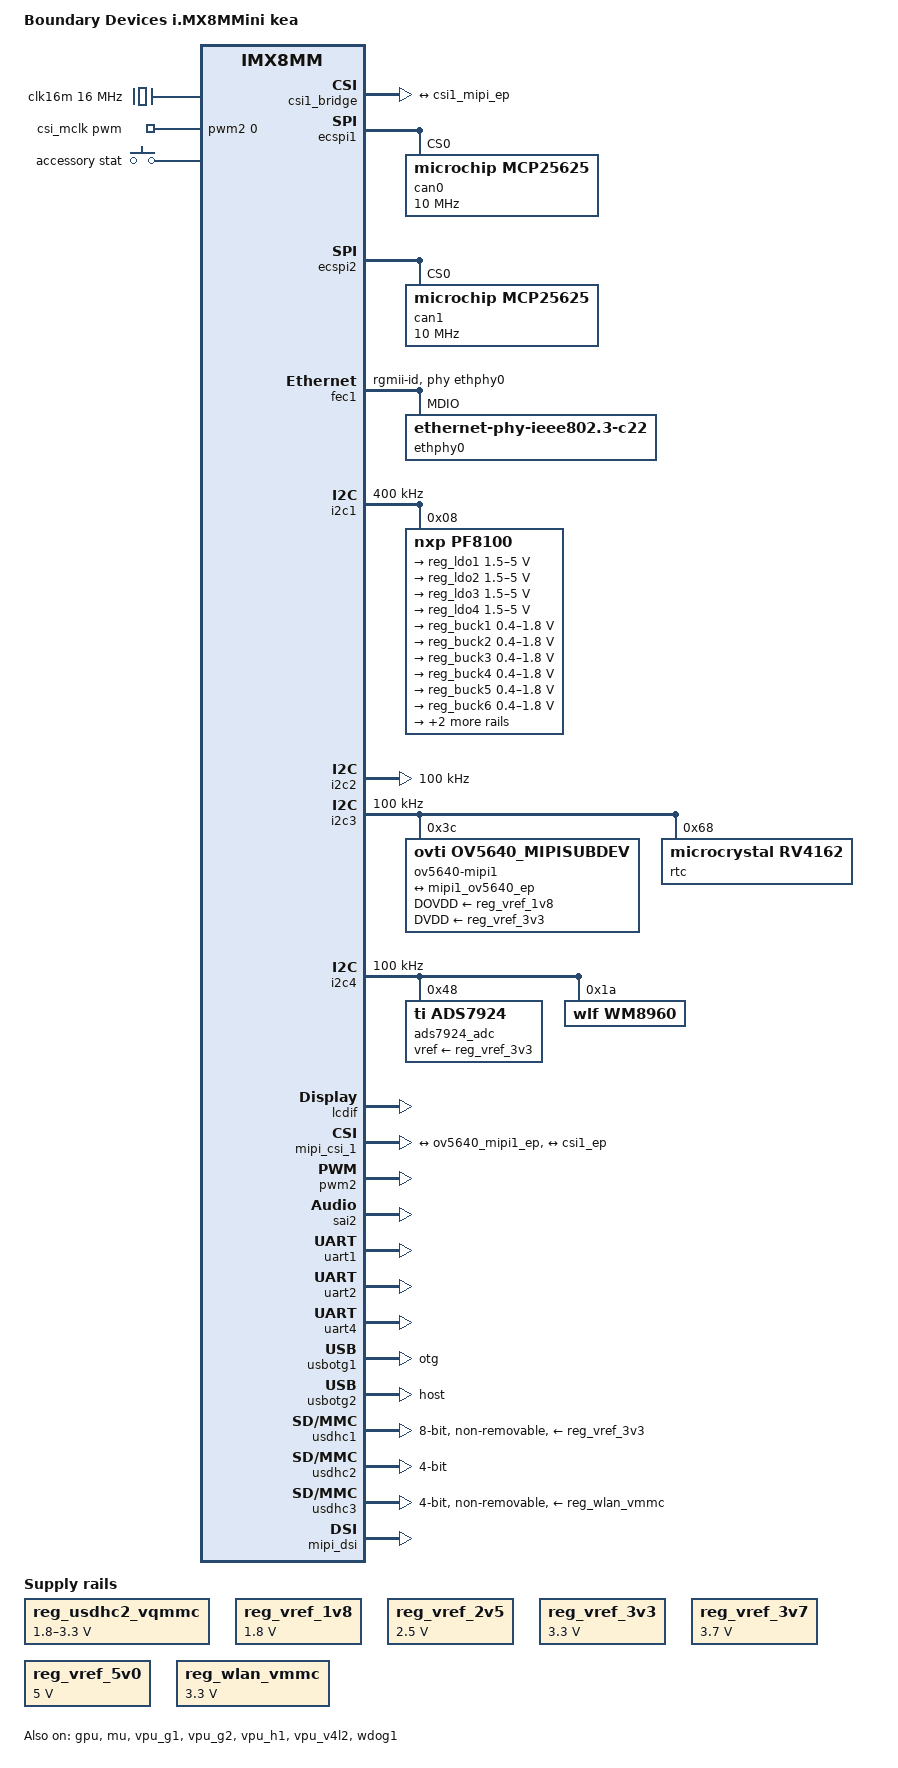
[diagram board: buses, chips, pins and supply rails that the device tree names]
// SPDX-License-Identifier: (GPL-2.0+ OR MIT)
/*
 * Copyright 2021 Boundary Devices
 */

/dts-v1/;
#define MX8MMN(a, b)	MX8MM_##a b
#define IMX8MMN(a)	IMX8MM_##a
#include "imx8mm.dtsi"

&iomuxc {
	pinctrl-names = "default";
	pinctrl-0 = <&pinctrl_hog>;

	pinctrl_bt_rfkill: bt-rfkillgrp {
		fsl,pins = <
#define GP_BT_RFKILL_RESET	<&gpio1 5 GPIO_ACTIVE_LOW>
			MX8MMN(IOMUXC_GPIO1_IO05_GPIO1_IO5, 0x119)
		>;
	};

	pinctrl_ecspi1: ecspi1grp {
		fsl,pins = <
			MX8MMN(IOMUXC_ECSPI1_SCLK_ECSPI1_SCLK, 0x19)
			MX8MMN(IOMUXC_ECSPI1_MISO_ECSPI1_MISO, 0x19)
			MX8MMN(IOMUXC_ECSPI1_MOSI_ECSPI1_MOSI, 0x19)
#define GP_ECSPI1_CS0		<&gpio5 9 GPIO_ACTIVE_LOW>
			MX8MMN(IOMUXC_ECSPI1_SS0_GPIO5_IO9, 0x140)
		>;
	};

	pinctrl_ecspi1_mcp25625: ecspi1-mcp25625grp {
		fsl,pins = <
			MX8MMN(IOMUXC_SAI1_TXD5_GPIO4_IO17, 0x1c0)	/* can1_rx0b */
			MX8MMN(IOMUXC_SAI1_TXD4_GPIO4_IO16, 0x1c0)	/* can1_rx1b */
			MX8MMN(IOMUXC_SAI1_TXD3_GPIO4_IO15, 0x1c0)	/* can1_tx0rts */
			MX8MMN(IOMUXC_SAI1_TXD2_GPIO4_IO14, 0x1c0)	/* can1_tx1rts */
			MX8MMN(IOMUXC_SAI1_TXD1_GPIO4_IO13, 0x1c0)	/* can1_tx2rts */
#define GPIRQ_MCP25625_1	<&gpio1 4 IRQ_TYPE_LEVEL_LOW>
			MX8MMN(IOMUXC_GPIO1_IO04_GPIO1_IO4, 0x1c0)
#define GP_MCP25625_1_RESET	<&gpio4 18 GPIO_ACTIVE_LOW>
			MX8MMN(IOMUXC_SAI1_TXD6_GPIO4_IO18, 0x100)	/* can1_reset */
		>;
	};

	pinctrl_ecspi2: ecspi2grp {
		fsl,pins = <
			/* J15 */
			MX8MMN(IOMUXC_ECSPI2_SCLK_ECSPI2_SCLK, 0x19)	/* Pin 43 */
			MX8MMN(IOMUXC_ECSPI2_MISO_ECSPI2_MISO, 0x19)	/* Pin 41 */
			MX8MMN(IOMUXC_ECSPI2_MOSI_ECSPI2_MOSI, 0x19)	/* Pin 45 */
#define GP_ECSPI2_CS0	<&gpio5 13 GPIO_ACTIVE_LOW>
			MX8MMN(IOMUXC_ECSPI2_SS0_GPIO5_IO13, 0x140)	/* Pin 39 */
		>;
	};

	pinctrl_ecspi2_mcp25625: ecspi2-mcp25625grp {
		fsl,pins = <
			MX8MMN(IOMUXC_SAI5_RXD0_GPIO3_IO21, 0x1c0)	/* can2_rx0b */
			MX8MMN(IOMUXC_SAI5_RXD1_GPIO3_IO22, 0x1c0)	/* can2_rx1b */
			MX8MMN(IOMUXC_SAI5_RXD2_GPIO3_IO23, 0x1c0)	/* can2_tx0rts */
			MX8MMN(IOMUXC_SAI5_RXD3_GPIO3_IO24, 0x1c0)	/* can2_tx1rts */
			MX8MMN(IOMUXC_SAI3_MCLK_GPIO5_IO2, 0x16)	/* can2_tx2rts */
#define GPIRQ_MCP25625_2	<&gpio1 8 IRQ_TYPE_LEVEL_LOW>
			MX8MMN(IOMUXC_GPIO1_IO08_GPIO1_IO8, 0x19)
#define GP_MCP25625_2_RESET	<&gpio1 3 GPIO_ACTIVE_LOW>
			MX8MMN(IOMUXC_GPIO1_IO03_GPIO1_IO3, 0x100)
		>;
	};

	pinctrl_fec1: fec1grp {
		fsl,pins = <
			/* PAD_CTL_ODE is screwy on 8mm mini, avoid it */
#define GP_MII_MDC	<&gpio1 16 GPIO_PULSE_HIGH>
			MX8MMN(IOMUXC_ENET_MDC_GPIO1_IO16, 0x00)
#define GP_MII_MDIO	<&gpio1 17 GPIO_ACTIVE_HIGH>
			MX8MMN(IOMUXC_ENET_MDIO_GPIO1_IO17, 0x00)
			MX8MMN(IOMUXC_ENET_RD0_ENET1_RGMII_RD0, 0x80)
			MX8MMN(IOMUXC_ENET_RD1_ENET1_RGMII_RD1, 0x80)
			MX8MMN(IOMUXC_ENET_RD2_ENET1_RGMII_RD2, 0x80)
			MX8MMN(IOMUXC_ENET_RD3_ENET1_RGMII_RD3, 0x80)
			MX8MMN(IOMUXC_ENET_RXC_ENET1_RGMII_RXC, 0x80)
			MX8MMN(IOMUXC_ENET_RX_CTL_ENET1_RGMII_RX_CTL, 0x80)
			/* 10/100 only, never gigabit speeds */
			MX8MMN(IOMUXC_ENET_TD0_ENET1_RGMII_TD0, 0x00)
			MX8MMN(IOMUXC_ENET_TD1_ENET1_RGMII_TD1, 0x00)
			MX8MMN(IOMUXC_ENET_TD2_ENET1_RGMII_TD2, 0x00)
			MX8MMN(IOMUXC_ENET_TD3_ENET1_RGMII_TD3, 0x00)
			MX8MMN(IOMUXC_ENET_TXC_ENET1_RGMII_TXC, 0x00)
			MX8MMN(IOMUXC_ENET_TX_CTL_ENET1_RGMII_TX_CTL, 0x00)
#define GP_FEC1_RESET	<&gpio3 15 GPIO_ACTIVE_LOW>
			MX8MMN(IOMUXC_NAND_RE_B_GPIO3_IO15, 0x159)
#define GPIRQ_FEC1_PHY	<&gpio3 16 IRQ_TYPE_LEVEL_LOW>
			MX8MMN(IOMUXC_NAND_READY_B_GPIO3_IO16, 0x159)
		>;
	};

	pinctrl_gpio_keys: gpio-keysgrp {
		fsl,pins = <
#define GP_ACCESSORY_STAT	<&gpio4 4 GPIO_ACTIVE_LOW>
			MX8MMN(IOMUXC_SAI1_RXD2_GPIO4_IO4, 0x1c0)	/* ACCESSORY_STAT */
		>;
	};

	pinctrl_hog: hoggrp {
		fsl,pins = <
			MX8MMN(IOMUXC_SAI3_TXFS_GPIO4_IO31, 0x100)	/* GPO1 */
			MX8MMN(IOMUXC_SAI3_TXC_GPIO5_IO0, 0x100)	/* GPO2 */			
			MX8MMN(IOMUXC_SAI3_TXD_GPIO5_IO1, 0x100)	/* GPO3 */
			MX8MMN(IOMUXC_SAI3_RXC_GPIO4_IO29, 0x1c0)	/* GPO1_STAT */
			MX8MMN(IOMUXC_SAI3_RXD_GPIO4_IO30, 0x1c0)	/* GPO2_STAT */
			MX8MMN(IOMUXC_SAI1_RXD7_GPIO4_IO9, 0x1c0)	/* GPO3_STAT */

			MX8MMN(IOMUXC_SAI5_MCLK_GPIO3_IO25, 0x100)	/* LIN_EN */
			MX8MMN(IOMUXC_SAI5_RXFS_GPIO3_IO19, 0x100)	/* LIN_RESET */

			MX8MMN(IOMUXC_SAI1_RXD3_GPIO4_IO5, 0x140)	/* 12V_EN */

			MX8MMN(IOMUXC_SAI1_RXD6_GPIO4_IO8, 0x140)	/* RELAY1_EN */
			MX8MMN(IOMUXC_SAI1_RXD5_GPIO4_IO7, 0x140)	/* RELAY2_EN */
			MX8MMN(IOMUXC_SAI1_RXD4_GPIO4_IO6, 0x140)	/* RELAY3_EN */

			MX8MMN(IOMUXC_SD2_WP_GPIO2_IO20, 0x100)		/* TP2  */
			MX8MMN(IOMUXC_GPIO1_IO15_GPIO1_IO15, 0x140)	/* TP5 */
			MX8MMN(IOMUXC_SD2_RESET_B_GPIO2_IO19, 0x140)	/* TP7  */
			MX8MMN(IOMUXC_GPIO1_IO14_GPIO1_IO14, 0x140)	/* TP12 */
			MX8MMN(IOMUXC_NAND_DATA00_GPIO3_IO6, 0x140)	/* TP61  */
			MX8MMN(IOMUXC_NAND_DATA03_GPIO3_IO9, 0x140)	/* TP62 */
		>;
	};

	pinctrl_i2c1: i2c1grp {
		fsl,pins = <
			MX8MMN(IOMUXC_I2C1_SCL_I2C1_SCL, 0x400001c3)
			MX8MMN(IOMUXC_I2C1_SDA_I2C1_SDA, 0x400001c3)
		>;
	};

	pinctrl_i2c1_1: i2c1_1grp {
		fsl,pins = <
#define GP_I2C1_SCL	<&gpio5 14 GPIO_OPEN_DRAIN>
			MX8MMN(IOMUXC_I2C1_SCL_GPIO5_IO14, 0x400001c3)
#define GP_I2C1_SDA	<&gpio5 15 GPIO_OPEN_DRAIN>
			MX8MMN(IOMUXC_I2C1_SDA_GPIO5_IO15, 0x400001c3)
		>;
	};

	pinctrl_i2c1_pf8100: i2c1-pf8100grp {
		fsl,pins = <
#define GP_I2C1_PF8100_EWARN	<&gpio3 3 GPIO_ACTIVE_LOW>
			MX8MMN(IOMUXC_NAND_CE2_B_GPIO3_IO3, 0x149)
#define GP_I2C1_PF8100_FAULT	<&gpio3 4 GPIO_ACTIVE_LOW>
			MX8MMN(IOMUXC_NAND_CE3_B_GPIO3_IO4, 0x149)
		>;
	};

	pinctrl_i2c2: i2c2grp {
		fsl,pins = <
			MX8MMN(IOMUXC_I2C2_SCL_I2C2_SCL, 0x400001c3)
			MX8MMN(IOMUXC_I2C2_SDA_I2C2_SDA, 0x400001c3)
		>;
	};

	pinctrl_i2c2_1: i2c2_1grp {
		fsl,pins = <
#define GP_I2C2_SCL	<&gpio5 16 GPIO_OPEN_DRAIN>
			MX8MMN(IOMUXC_I2C2_SCL_GPIO5_IO16, 0x400001c3)
#define GP_I2C2_SDA	<&gpio5 17 GPIO_OPEN_DRAIN>
			MX8MMN(IOMUXC_I2C2_SDA_GPIO5_IO17, 0x400001c3)
		>;
	};

	pinctrl_i2c3: i2c3grp {
		fsl,pins = <
			MX8MMN(IOMUXC_I2C3_SCL_I2C3_SCL, 0x400001c3)
			MX8MMN(IOMUXC_I2C3_SDA_I2C3_SDA, 0x400001c3)
		>;
	};

	pinctrl_i2c3_1: i2c3_1grp {
		fsl,pins = <
#define GP_I2C3_SCL	<&gpio5 18 GPIO_OPEN_DRAIN>
			MX8MMN(IOMUXC_I2C3_SCL_GPIO5_IO18, 0x400001c3)
#define GP_I2C3_SDA	<&gpio5 19 GPIO_OPEN_DRAIN>
			MX8MMN(IOMUXC_I2C3_SDA_GPIO5_IO19, 0x400001c3)
		>;
	};

	pinctrl_i2c3_ov5640_mipi: i2c3-ov5640-mipigrp {
		fsl,pins = <
#define GP_OV5640_MIPI_POWER_DOWN	<&gpio4 28 GPIO_ACTIVE_HIGH>
			MX8MMN(IOMUXC_SAI3_RXFS_GPIO4_IO28, 0x141)
#define GP_OV5640_MIPI_RESET		<&gpio1 11 GPIO_ACTIVE_LOW>
			MX8MMN(IOMUXC_GPIO1_IO11_GPIO1_IO11, 0x101)
		>;
	};

	pinctrl_i2c3_rv4162: i2c3-rv4162grp {
		fsl,pins = <
#define GPIRQ_RV4162		<&gpio1 10 IRQ_TYPE_LEVEL_LOW>
			MX8MMN(IOMUXC_GPIO1_IO10_GPIO1_IO10, 0x1c0)
                >;
        };

	pinctrl_i2c4: i2c4grp {
		fsl,pins = <
			MX8MMN(IOMUXC_I2C4_SCL_I2C4_SCL, 0x400001c3)
			MX8MMN(IOMUXC_I2C4_SDA_I2C4_SDA, 0x400001c3)
		>;
	};

	pinctrl_i2c4_1: i2c4_1grp {
		fsl,pins = <
#define GP_I2C4_SCL	<&gpio5 20 GPIO_OPEN_DRAIN>
			MX8MMN(IOMUXC_I2C4_SCL_GPIO5_IO20, 0x400001c3)
#define GP_I2C4_SDA	<&gpio5 21 GPIO_OPEN_DRAIN>
			MX8MMN(IOMUXC_I2C4_SDA_GPIO5_IO21, 0x400001c3)
		>;
	};

	pinctrl_i2c4_ads7924: i2c4_ads7924grp {
		fsl,pins = <
#define GPIRQ_ADC_INTR		<&gpio4 22 IRQ_TYPE_LEVEL_LOW>
			MX8MMN(IOMUXC_SAI2_RXC_GPIO4_IO22, 0x1c0)
#define GP_ADC_RESET		<&gpio4 3 GPIO_ACTIVE_LOW>
			MX8MMN(IOMUXC_SAI1_RXD1_GPIO4_IO3, 0x100)
		>;
	};

	pinctrl_pwm2: pwm2grp {
		fsl,pins = <
			MX8MMN(IOMUXC_SPDIF_RX_PWM2_OUT, 0x16)
		>;
	};

	/* For EC21-ALCC modem */
	pinctrl_reg_3p7v: reg-3p7vgrp {
		fsl,pins = <
#define GP_REG_3P7V	<&gpio4 20 GPIO_ACTIVE_HIGH>
			MX8MMN(IOMUXC_SAI1_MCLK_GPIO4_IO20, 0x100)
		>;
	};

	pinctrl_reg_usdhc2_vqmmc: reg_usdhc2_vqmmcgrp {
		fsl,pins = <
#define GP_USDHC2_VSEL	<&gpio3 2 GPIO_ACTIVE_HIGH>
			MX8MMN(IOMUXC_NAND_CE1_B_GPIO3_IO2, 0x16)
		>;
	};

	pinctrl_reg_wlan_vmmc: reg-wlan-vmmcgrp {
		fsl,pins = <
#define GP_REG_WLAN_VMMC	<&gpio4 21 GPIO_ACTIVE_HIGH>
			MX8MMN(IOMUXC_SAI2_RXFS_GPIO4_IO21, 0x100)
		>;
	};

	pinctrl_sai2: sai2grp {
		fsl,pins = <
			/* Bluetooth PCM */
			MX8MMN(IOMUXC_SAI2_TXFS_SAI2_TX_SYNC, 0xd6)
			MX8MMN(IOMUXC_SAI2_TXC_SAI2_TX_BCLK, 0xd6)
			MX8MMN(IOMUXC_SAI2_TXD0_SAI2_TX_DATA0, 0xd6)
			MX8MMN(IOMUXC_SAI2_RXD0_SAI2_RX_DATA0, 0xd6)
		>;
	};

	pinctrl_uart1: uart1grp {
		fsl,pins = <
			MX8MMN(IOMUXC_UART1_RXD_UART1_DCE_RX, 0x140)
			MX8MMN(IOMUXC_UART1_TXD_UART1_DCE_TX, 0x140)
			MX8MMN(IOMUXC_UART3_RXD_UART1_DCE_CTS_B, 0x140)
			MX8MMN(IOMUXC_UART3_TXD_UART1_DCE_RTS_B, 0x140)
		>;
	};

	pinctrl_uart2: uart2grp {
		fsl,pins = <
			MX8MMN(IOMUXC_UART2_RXD_UART2_DCE_RX, 0x140)
			MX8MMN(IOMUXC_UART2_TXD_UART2_DCE_TX, 0x140)
		>;
	};

	pinctrl_uart4: uart4grp {
		fsl,pins = <
			MX8MMN(IOMUXC_UART4_RXD_UART4_DCE_RX, 0x140)
			MX8MMN(IOMUXC_UART4_TXD_UART4_DCE_TX, 0x140)
		>;
	};

	pinctrl_usbotg1: usbotg1grp {
		fsl,pins = <
			MX8MMN(IOMUXC_GPIO1_IO12_USB1_OTG_PWR, 0x16)
			MX8MMN(IOMUXC_GPIO1_IO13_USB1_OTG_OC, 0x156)
		>;
	};

	pinctrl_usbotg2: usbotg2grp {
		fsl,pins = <
#define GP_OTG2_HUB_RESET        <&gpio5 5 GPIO_ACTIVE_LOW>
			MX8MMN(IOMUXC_SPDIF_EXT_CLK_GPIO5_IO5, 0x102)
		>;
	};

	pinctrl_usdhc1: usdhc1grp {
		fsl,pins = <
			MX8MMN(IOMUXC_SD1_CLK_USDHC1_CLK, 0x190)
			MX8MMN(IOMUXC_SD1_CMD_USDHC1_CMD, 0x1d0)
			MX8MMN(IOMUXC_SD1_DATA0_USDHC1_DATA0, 0x1d0)
			MX8MMN(IOMUXC_SD1_DATA1_USDHC1_DATA1, 0x1d0)
			MX8MMN(IOMUXC_SD1_DATA2_USDHC1_DATA2, 0x1d0)
			MX8MMN(IOMUXC_SD1_DATA3_USDHC1_DATA3, 0x1d0)
			MX8MMN(IOMUXC_SD1_DATA4_USDHC1_DATA4, 0x1d0)
			MX8MMN(IOMUXC_SD1_DATA5_USDHC1_DATA5, 0x1d0)
			MX8MMN(IOMUXC_SD1_DATA6_USDHC1_DATA6, 0x1d0)
			MX8MMN(IOMUXC_SD1_DATA7_USDHC1_DATA7, 0x1d0)
#define GP_EMMC_RESET		<&gpio2 10 GPIO_ACTIVE_LOW>
			MX8MMN(IOMUXC_SD1_RESET_B_GPIO2_IO10, 0x141)
		>;
	};

	pinctrl_usdhc1_100mhz: usdhc1grp100mhz {
		fsl,pins = <
			MX8MMN(IOMUXC_SD1_CLK_USDHC1_CLK, 0x194)
			MX8MMN(IOMUXC_SD1_CMD_USDHC1_CMD, 0x1d4)
			MX8MMN(IOMUXC_SD1_DATA0_USDHC1_DATA0, 0x1d4)
			MX8MMN(IOMUXC_SD1_DATA1_USDHC1_DATA1, 0x1d4)
			MX8MMN(IOMUXC_SD1_DATA2_USDHC1_DATA2, 0x1d4)
			MX8MMN(IOMUXC_SD1_DATA3_USDHC1_DATA3, 0x1d4)
			MX8MMN(IOMUXC_SD1_DATA4_USDHC1_DATA4, 0x1d4)
			MX8MMN(IOMUXC_SD1_DATA5_USDHC1_DATA5, 0x1d4)
			MX8MMN(IOMUXC_SD1_DATA6_USDHC1_DATA6, 0x1d4)
			MX8MMN(IOMUXC_SD1_DATA7_USDHC1_DATA7, 0x1d4)
		>;
	};

	pinctrl_usdhc1_200mhz: usdhc1grp200mhz {
		fsl,pins = <
			MX8MMN(IOMUXC_SD1_CLK_USDHC1_CLK, 0x196)
			MX8MMN(IOMUXC_SD1_CMD_USDHC1_CMD, 0x1d6)
			MX8MMN(IOMUXC_SD1_DATA0_USDHC1_DATA0, 0x1d6)
			MX8MMN(IOMUXC_SD1_DATA1_USDHC1_DATA1, 0x1d6)
			MX8MMN(IOMUXC_SD1_DATA2_USDHC1_DATA2, 0x1d6)
			MX8MMN(IOMUXC_SD1_DATA3_USDHC1_DATA3, 0x1d6)
			MX8MMN(IOMUXC_SD1_DATA4_USDHC1_DATA4, 0x1d6)
			MX8MMN(IOMUXC_SD1_DATA5_USDHC1_DATA5, 0x1d6)
			MX8MMN(IOMUXC_SD1_DATA6_USDHC1_DATA6, 0x1d6)
			MX8MMN(IOMUXC_SD1_DATA7_USDHC1_DATA7, 0x1d6)
		>;
	};

	pinctrl_usdhc2: usdhc2grp {
		fsl,pins = <
			MX8MMN(IOMUXC_SD2_CLK_USDHC2_CLK, 0x190)
			MX8MMN(IOMUXC_SD2_CMD_USDHC2_CMD, 0x1d0)
			MX8MMN(IOMUXC_SD2_DATA0_USDHC2_DATA0, 0x1d0)
			MX8MMN(IOMUXC_SD2_DATA1_USDHC2_DATA1, 0x1d0)
			MX8MMN(IOMUXC_SD2_DATA2_USDHC2_DATA2, 0x1d0)
			MX8MMN(IOMUXC_SD2_DATA3_USDHC2_DATA3, 0x1d0)
#define GP_USDHC2_CD	<&gpio2 12 GPIO_ACTIVE_LOW>
			MX8MMN(IOMUXC_SD2_CD_B_GPIO2_IO12, 0x1c4)
		>;
	};

	pinctrl_usdhc2_100mhz: usdhc2grp100mhz {
		fsl,pins = <
			MX8MMN(IOMUXC_SD2_CLK_USDHC2_CLK, 0x194)
			MX8MMN(IOMUXC_SD2_CMD_USDHC2_CMD, 0x1d4)
			MX8MMN(IOMUXC_SD2_DATA0_USDHC2_DATA0, 0x1d4)
			MX8MMN(IOMUXC_SD2_DATA1_USDHC2_DATA1, 0x1d4)
			MX8MMN(IOMUXC_SD2_DATA2_USDHC2_DATA2, 0x1d4)
			MX8MMN(IOMUXC_SD2_DATA3_USDHC2_DATA3, 0x1d4)
		>;
	};

	pinctrl_usdhc2_200mhz: usdhc2grp200mhz {
		fsl,pins = <
			MX8MMN(IOMUXC_SD2_CLK_USDHC2_CLK, 0x196)
			MX8MMN(IOMUXC_SD2_CMD_USDHC2_CMD, 0x1d6)
			MX8MMN(IOMUXC_SD2_DATA0_USDHC2_DATA0, 0x1d6)
			MX8MMN(IOMUXC_SD2_DATA1_USDHC2_DATA1, 0x1d6)
			MX8MMN(IOMUXC_SD2_DATA2_USDHC2_DATA2, 0x1d6)
			MX8MMN(IOMUXC_SD2_DATA3_USDHC2_DATA3, 0x1d6)
		>;
	};

	pinctrl_usdhc3: usdhc3grp {
		fsl,pins = <
			MX8MMN(IOMUXC_NAND_WE_B_USDHC3_CLK, 0x190)
			MX8MMN(IOMUXC_NAND_WP_B_USDHC3_CMD, 0x1d0)
			MX8MMN(IOMUXC_NAND_DATA04_USDHC3_DATA0, 0x1d0)
			MX8MMN(IOMUXC_NAND_DATA05_USDHC3_DATA1, 0x1d0)
			MX8MMN(IOMUXC_NAND_DATA06_USDHC3_DATA2, 0x1d0)
			MX8MMN(IOMUXC_NAND_DATA07_USDHC3_DATA3, 0x1d0)
		>;
	};

	pinctrl_usdhc3_100mhz: usdhc3grp100mhz {
		fsl,pins = <
			MX8MMN(IOMUXC_NAND_WE_B_USDHC3_CLK, 0x194)
			MX8MMN(IOMUXC_NAND_WP_B_USDHC3_CMD, 0x1d4)
			MX8MMN(IOMUXC_NAND_DATA04_USDHC3_DATA0, 0x1d4)
			MX8MMN(IOMUXC_NAND_DATA05_USDHC3_DATA1, 0x1d4)
			MX8MMN(IOMUXC_NAND_DATA06_USDHC3_DATA2, 0x1d4)
			MX8MMN(IOMUXC_NAND_DATA07_USDHC3_DATA3, 0x1d4)
		>;
	};

	pinctrl_usdhc3_200mhz: usdhc3grp200mhz {
		fsl,pins = <
			MX8MMN(IOMUXC_NAND_WE_B_USDHC3_CLK, 0x196)
			MX8MMN(IOMUXC_NAND_WP_B_USDHC3_CMD, 0x1d6)
			MX8MMN(IOMUXC_NAND_DATA04_USDHC3_DATA0, 0x1d6)
			MX8MMN(IOMUXC_NAND_DATA05_USDHC3_DATA1, 0x1d6)
			MX8MMN(IOMUXC_NAND_DATA06_USDHC3_DATA2, 0x1d6)
			MX8MMN(IOMUXC_NAND_DATA07_USDHC3_DATA3, 0x1d6)
		>;
	};

	pinctrl_wdog: wdoggrp {
		fsl,pins = <
			MX8MMN(IOMUXC_GPIO1_IO02_WDOG1_WDOG_B, 0x140)
		>;
	};

	pinctrl_wwan_rfkill: wwan-rfkillgrp {
		fsl,pins = <
			/* EC21 - Modem pins */
#define GP_EC21_RESET		<&gpio4 2 (GPIO_OPEN_DRAIN | GPIO_ACTIVE_LOW)>
			MX8MMN(IOMUXC_SAI1_RXD0_GPIO4_IO2, 0x140)	/*  98, LTE_RESET_N */
#define GP_EC21_USB_BOOT	<&gpio4 27 GPIO_ACTIVE_HIGH>
			MX8MMN(IOMUXC_SAI2_MCLK_GPIO4_IO27, 0x100)	/* 123, LTE_USB_BOOT */
#define GP_EC21_POWER_KEY	<&gpio4 10 GPIO_OPEN_DRAIN>
			MX8MMN(IOMUXC_SAI1_TXFS_GPIO4_IO10, 0x140)	/* 106, LTE_ON_OFF */
#define GP_EC21_USIM_DETECT	<&gpio3 20 GPIO_ACTIVE_LOW>
			MX8MMN(IOMUXC_SAI5_RXC_GPIO3_IO20, 0x100)	/*  84, LTE_USIM_DETECT */
#define GP_EC21_WAKE_UP		<&gpio4 11 GPIO_ACTIVE_LOW>
			MX8MMN(IOMUXC_SAI1_TXC_GPIO4_IO11 , 0x100)	/* 107, LTE_WAKE_UP */
#define GP_EC21_AP_READY	<&gpio4 19 GPIO_ACTIVE_LOW>
			MX8MMN(IOMUXC_SAI1_TXD7_GPIO4_IO19, 0x100)	/* 115, LTE_AP_READY */
#define GP_EC21_ACTIVE_STATUS	<&gpio4 1 GPIO_ACTIVE_LOW>
			MX8MMN(IOMUXC_SAI1_RXC_GPIO4_IO1, 0x1c0)	/*  97, LTE_STAT */
#define GP_EC21_NET_STAT	<&gpio1 0 GPIO_ACTIVE_HIGH>
			MX8MMN(IOMUXC_GPIO1_IO00_GPIO1_IO0, 0x80)	/*   0, LTE_NET_STAT */
#define GP_EC21_NET_MODE	<&gpio4 12 GPIO_ACTIVE_HIGH>
			MX8MMN(IOMUXC_SAI1_TXD0_GPIO4_IO12, 0x80)	/* 108, LTE_NET_MODE */
#define GP_EC21_RI		<&gpio4 0 GPIO_ACTIVE_HIGH>
			MX8MMN(IOMUXC_SAI1_RXFS_GPIO4_IO0, 0x80)	/*  96, LTE_RI */
		>;
	};
};

/ {
	model = "Boundary Devices i.MX8MMini kea";
	compatible = "boundary,imx8mm-kea", "fsl,imx8mm";

	bt-rfkill {
		compatible = "net,rfkill-gpio";
		pinctrl-names = "default";
		pinctrl-0 = <&pinctrl_bt_rfkill>;
		name = "bt-rfkill";
		type = <2>; /* Bluetooth */
		reset-gpios = GP_BT_RFKILL_RESET;
		status = "okay";
	};

	clocks {
		clk16m: clk16m {
			#clock-cells = <0>;
			compatible = "fixed-clock";
			clock-frequency = <16000000>;
		};
	};

	csi_mclk: csi-mclk {
		#clock-cells = <0>;
		compatible = "pwm-clock";
		clock-frequency = <20000000>;
		clock-output-names = "csi_mclk";
		pwms = <&pwm2 0 50 0>; /* 1 / 50 ns = 20 MHz */
	};

	gpio-keys {
		compatible = "gpio-keys";
		pinctrl-names = "default";
		pinctrl-0 = <&pinctrl_gpio_keys>;

		accessory-stat {
			label = "accessory stat";
			gpios = GP_ACCESSORY_STAT;
			linux,code = <KEY_A>;
		};
	};

	reg_usdhc2_vqmmc: regulator-usdhc2-vqmmc {
		compatible = "regulator-gpio";
		pinctrl-names = "default";
		pinctrl-0 = <&pinctrl_reg_usdhc2_vqmmc>;
		regulator-name = "reg_sd2_vsel";
		regulator-min-microvolt = <1800000>;
		regulator-max-microvolt = <3300000>;
		regulator-type = "voltage";
		regulator-boot-on;
		regulator-always-on;
		gpios = GP_USDHC2_VSEL;
		states = <1800000 0x1
			  3300000 0x0>;
	};

	reg_vref_1v8: regulator-vref-1v8 {
		compatible = "regulator-fixed";
		regulator-name = "vref-1v8";
		regulator-min-microvolt = <1800000>;
		regulator-max-microvolt = <1800000>;
	};

	reg_vref_2v5: regulator-vref-2v5 {
		compatible = "regulator-fixed";
		regulator-name = "vref-2v5";
		regulator-min-microvolt = <2500000>;
		regulator-max-microvolt = <2500000>;
	};

	reg_vref_3v3: regulator-vref-3v3 {
		compatible = "regulator-fixed";
		regulator-name = "vref-3v3";
		regulator-min-microvolt = <3300000>;
		regulator-max-microvolt = <3300000>;
	};

	reg_vref_3v7: regulator-vref-3v7 {
		compatible = "regulator-fixed";
		pinctrl-names = "default";
		pinctrl-0 = <&pinctrl_reg_3p7v>;
		regulator-name = "ec21_3v7";
		regulator-min-microvolt = <3700000>;
		regulator-max-microvolt = <3700000>;
		startup-delay-us = <60000>;
		gpio = GP_REG_3P7V;
		enable-active-high;
	};

	reg_vref_5v0: regulator-vref-5v {
		compatible = "regulator-fixed";
		regulator-name = "vref-5v";
		regulator-min-microvolt = <5000000>;
		regulator-max-microvolt = <5000000>;
	};

	reg_wlan_vmmc: regulator-wlan-vmmc {
		compatible = "regulator-fixed";
		pinctrl-names = "default";
		pinctrl-0 = <&pinctrl_reg_wlan_vmmc>;
		regulator-name = "reg_wlan_vmmc";
		regulator-min-microvolt = <3300000>;
		regulator-max-microvolt = <3300000>;
		gpio = GP_REG_WLAN_VMMC;
		startup-delay-us = <70000>;
		enable-active-high;
	};

	wwan_rfkill: wwan-rfkill {
#if 0
		/* power-key is not connected, so don't use status */
		active-status-gpios = GP_EC21_ACTIVE_STATUS;
#endif
		compatible = "net,rfkill-gpio";
#if 1
		low-gpios = GP_EC21_USB_BOOT;
		high-gpios = GP_EC21_USIM_DETECT,GP_EC21_WAKE_UP,GP_EC21_AP_READY;
#else
		high-gpios = GP_EC21_USB_BOOT,GP_EC21_USIM_DETECT,GP_EC21_WAKE_UP,GP_EC21_AP_READY;
#endif
		name = "wwan-rfkill";
		pinctrl-names = "default";
		pinctrl-0 = <&pinctrl_wwan_rfkill>;
		power-key-low-off = <700>;
		power-key-low-on = <550>;
		power-key-gpios = GP_EC21_POWER_KEY;
		reset-gpios = GP_EC21_RESET;
		status = "okay";
		type = <5>;     /* WWAN */
		vdd-supply = <&reg_vref_3v7>;
	};
};

&A53_0 {
	cpu-supply = <&reg_buck3>;
};

&csi1_bridge {
	fsl,mipi-mode;
	status = "okay";

	port {
		csi1_ep: endpoint {
			remote-endpoint = <&csi1_mipi_ep>;
		};
	};
};

&ecspi1 {
	pinctrl-names = "default";
	pinctrl-0 = <&pinctrl_ecspi1>;
	fsl,spi-num-chipselects = <1>;
	cs-gpios = GP_ECSPI1_CS0;
	status = "okay";
	#address-cells = <1>;
	#size-cells = <0>;

	can0: can@0 {
		clocks = <&clk16m>;
		compatible = "microchip,mcp25625";
		interrupts-extended = GPIRQ_MCP25625_1;
		pinctrl-names = "default";
		pinctrl-0 = <&pinctrl_ecspi1_mcp25625>;
		reg = <0>;
		reset-gpios = GP_MCP25625_1_RESET;
		spi-max-frequency = <10000000>;
	};
};

&ecspi2 {
	assigned-clocks = <&clk IMX8MMN(CLK_ECSPI2)>;
	assigned-clock-parents = <&clk IMX8MMN(SYS_PLL1_40M)>;
	assigned-clock-rates = <40000000>;
	cs-gpios = GP_ECSPI2_CS0;
	fsl,spi-num-chipselects = <1>;
	pinctrl-names = "default";
	pinctrl-0 = <&pinctrl_ecspi2>;
	status = "okay";
	#address-cells = <1>;
	#size-cells = <0>;

	can1: can@0 {
		clocks = <&clk16m>;
		compatible = "microchip,mcp25625";
		interrupts-extended = GPIRQ_MCP25625_2;
		pinctrl-names = "default";
		pinctrl-0 = <&pinctrl_ecspi2_mcp25625>;
		reg = <0>;
		reset-gpios = GP_MCP25625_2_RESET;
		spi-max-frequency = <10000000>;
	};
};

&fec1 {
	mdc-gpios = GP_MII_MDC;
	mdio-gpios = GP_MII_MDIO;
	pinctrl-names = "default";
	pinctrl-0 = <&pinctrl_fec1>;
#if 0
	phy-reset-gpios = GP_FEC1_RESET;
#endif
	phy-mode = "rgmii-id";
	phy-handle = <&ethphy0>;
	fsl,magic-packet;
	status = "okay";

	mdio {
		#address-cells = <1>;
		#size-cells = <0>;

		ethphy0: ethernet-phy {
			compatible = "ethernet-phy-ieee802.3-c22";
			interrupts-extended = GPIRQ_FEC1_PHY;
			reg-mask = <0x90>;
		};
	};
};

&gpu {
	status = "okay";
};

&i2c1 {
	clock-frequency = <400000>;
	pinctrl-names = "default", "gpio";
	pinctrl-0 = <&pinctrl_i2c1>;
	pinctrl-1 = <&pinctrl_i2c1_1>;
	scl-gpios = GP_I2C1_SCL;
	sda-gpios = GP_I2C1_SDA;
	status = "okay";

	pf8100@8 {
		compatible = "nxp,pf8100";
		pinctrl-names = "default";
		pinctrl-0 = <&pinctrl_i2c1_pf8100>;
		reg = <0x08>;

		regulators {
			reg_ldo1: ldo1 {
				regulator-always-on;
				regulator-boot-on;
				regulator-max-microvolt = <5000000>;
				regulator-min-microvolt = <1500000>;
			};

			reg_ldo2: ldo2 {
				regulator-always-on;
				regulator-boot-on;
				regulator-max-microvolt = <5000000>;
				regulator-min-microvolt = <1500000>;
#if 0
				/* vselect low is 3.3V, high is 1.8V */
				vselect-en;
#endif
			};

			reg_ldo3: ldo3 {
				regulator-always-on;
				regulator-boot-on;
				regulator-max-microvolt = <5000000>;
				regulator-min-microvolt = <1500000>;
			};

			reg_ldo4: ldo4 {
				regulator-always-on;
				regulator-boot-on;
				regulator-max-microvolt = <5000000>;
				regulator-min-microvolt = <1500000>;
			};

			reg_buck1: buck1 {
				nxp,phase-shift = <0>;
				regulator-max-microamp = <4500000>;
				regulator-always-on;
				regulator-boot-on;
				regulator-max-microvolt = <1800000>;
				regulator-min-microvolt =  <400000>;
			};

			reg_buck2: buck2 {
				regulator-always-on;
				regulator-boot-on;
				regulator-max-microvolt = <1800000>;
				regulator-min-microvolt =  <400000>;
			};

			reg_buck3: buck3 {
				regulator-always-on;
				regulator-boot-on;
				regulator-max-microvolt = <1800000>;
				regulator-min-microvolt =  <400000>;
				fast-slew = <1>;
			};

			reg_buck4: buck4 {
				alias = <&reg_buck4>;
				regulator-always-on;
				regulator-boot-on;
				regulator-max-microvolt = <1800000>;
				regulator-min-microvolt =  <400000>;
				fast-slew = <1>;
			};

			reg_buck5: buck5 {
				regulator-always-on;
				regulator-boot-on;
				regulator-max-microvolt = <1800000>;
				regulator-min-microvolt =  <400000>;
			};

			reg_buck6: buck6 {
				regulator-always-on;
				regulator-boot-on;
				regulator-max-microvolt = <1800000>;
				regulator-min-microvolt =  <400000>;
			};

			reg_buck7: buck7 {
				regulator-always-on;
				regulator-boot-on;
				regulator-max-microvolt = <4100000>;
				regulator-min-microvolt = <1000000>;
			};

			reg_vsnvs: vsnvs {
				regulator-always-on;
				regulator-boot-on;
				regulator-max-microvolt = <3300000>;
				regulator-min-microvolt = <1800000>;
			};
		};
	};
};

&i2c2 {
	clock-frequency = <100000>;
	pinctrl-names = "default", "gpio";
	pinctrl-0 = <&pinctrl_i2c2>;
	pinctrl-1 = <&pinctrl_i2c2_1>;
	scl-gpios = GP_I2C2_SCL;
	sda-gpios = GP_I2C2_SDA;
	status = "okay";
};

&i2c3 {
	clock-frequency = <100000>;
	pinctrl-names = "default", "gpio";
	pinctrl-0 = <&pinctrl_i2c3>;
	pinctrl-1 = <&pinctrl_i2c3_1>;
	scl-gpios = GP_I2C3_SCL;
	sda-gpios = GP_I2C3_SDA;
	status = "okay";

	ov5640-mipi1@3c {
#if 0
		AVDD-supply = <&reg_ldo3>;
#endif
		DOVDD-supply = <&reg_vref_1v8>;
		DVDD-supply = <&reg_vref_3v3>;
		clocks = <&csi_mclk>;
		clock-names = "xclk";
		compatible = "ovti,ov5640_mipisubdev";
		csi_id = <0>;
		mclk = <20000000>;
		mipi_csi;
		pinctrl-names = "default";
		pinctrl-0 = <&pinctrl_i2c3_ov5640_mipi>;
		powerdown-gpios = GP_OV5640_MIPI_POWER_DOWN;
		reg = <0x3c>;
		reset-gpios = GP_OV5640_MIPI_RESET;
		status = "okay";

		port {
			ov5640_mipi1_ep: endpoint {
				remote-endpoint = <&mipi1_ov5640_ep>;
			};
		};
	};
	
	rtc@68 {
		compatible = "microcrystal,rv4162";
		pinctrl-names = "default";
		pinctrl-0 = <&pinctrl_i2c3_rv4162>;
		reg = <0x68>;
		interrupts-extended = GPIRQ_RV4162;
		wakeup-source;
	};
};

&i2c4 {
	clock-frequency = <100000>;
	pinctrl-names = "default", "gpio";
	pinctrl-0 = <&pinctrl_i2c4>;
	pinctrl-1 = <&pinctrl_i2c4_1>;
	scl-gpios = GP_I2C4_SCL;
	sda-gpios = GP_I2C4_SDA;
	status = "okay";

	ads7924_adc@48 {
		compatible = "ti,ads7924";
		pinctrl-names = "default";
		pinctrl-0 = <&pinctrl_i2c4_ads7924>;
		reg = <0x48>;
		vref-supply = <&reg_vref_3v3>;
		reset-gpios = GP_ADC_RESET;
		interrupts-extended = GPIRQ_ADC_INTR;
		adc-irq-mode = /bits/ 8 <0x00>; /* IRQ for alarms */
		adc-mode = /bits/ 8 <0x30>; /* 3b Auto Scan w/ Sleep */
		adc-sleep-ms = <320>;
	};

	wm8960: codec@1a {
		clock-names = "mclk";
		clocks = <&clk IMX8MMN(CLK_SAI1_ROOT)>;
		compatible = "wlf,wm8960";
		reg = <0x1a>;
		wlf,gpio-cfg = <1 3>;
		wlf,shared-lrclk;
	};
};

&lcdif {
	status = "okay";
};

&mipi_csi_1 {
	#address-cells = <1>;
	#size-cells = <0>;
	status = "okay";
	port {
		mipi1_ov5640_ep: endpoint@1 {
			remote-endpoint = <&ov5640_mipi1_ep>;
			data-lanes = <2>;
			csis-hs-settle = <13>;
			csis-clk-settle = <2>;
			csis-wclk;
		};

		csi1_mipi_ep: endpoint@2 {
			remote-endpoint = <&csi1_ep>;
		};
	};
};

&mu {
	status = "okay";
};

&pgc_vpumix {
	dvfs-supply = <&reg_buck5>;
	idle-microvolt = <850000 805000 900000>;
};

&pwm2 {
	assigned-clocks = <&clk IMX8MMN(CLK_PWM2)>;
	assigned-clock-parents = <&clk IMX8MMN(SYS_PLL1_40M)>;
	assigned-clock-rates = <40000000>;
	pinctrl-names = "default";
	pinctrl-0 = <&pinctrl_pwm2>;
	status = "okay";
};

&sai2 {
	pinctrl-names = "default";
	pinctrl-0 = <&pinctrl_sai2>;
	status = "okay";
};

&uart1 { /* BT */
	pinctrl-names = "default";
	pinctrl-0 = <&pinctrl_uart1>;
	assigned-clocks = <&clk IMX8MMN(CLK_UART1)>;
	assigned-clock-parents = <&clk IMX8MMN(SYS_PLL1_80M)>;
	uart-has-rtscts;
	status = "okay";
};

&uart2 { /* console */
	pinctrl-names = "default";
	pinctrl-0 = <&pinctrl_uart2>;
	assigned-clocks = <&clk IMX8MMN(CLK_UART2)>;
	assigned-clock-parents = <&clk IMX8MMN(CLK_24M)>;
	status = "okay";
};

&uart4 {
	pinctrl-names = "default";
	pinctrl-0 = <&pinctrl_uart4>;
	assigned-clocks = <&clk IMX8MMN(CLK_UART4)>;
	assigned-clock-parents = <&clk IMX8MMN(SYS_PLL1_80M)>;
	status = "okay";
};

&usbotg1 {
	dr_mode = "otg";
	over-current-active-low;
	pinctrl-names = "default";
	pinctrl-0 = <&pinctrl_usbotg1>;
	power-active-high;
	status = "okay";
};

&usbotg2 {
	dr_mode = "host";
	disable-over-current;
	pinctrl-names = "default";
	pinctrl-0 = <&pinctrl_usbotg2>;
	power-active-high;
	reset-gpios = GP_OTG2_HUB_RESET;
	status = "okay";
};

&usdhc1 {
	bus-width = <8>;
	no-mmc-hs400;
	non-removable;
	pinctrl-names = "default", "state_100mhz", "state_200mhz";
	pinctrl-0 = <&pinctrl_usdhc1>;
	pinctrl-1 = <&pinctrl_usdhc1_100mhz>;
	pinctrl-2 = <&pinctrl_usdhc1_200mhz>;
	status = "okay";
	vmmc-supply = <&reg_vref_3v3>;
	vqmmc-1-8-v;
	vqmmc-supply = <&reg_vref_1v8>;
};

&usdhc2 {
	bus-width = <4>;
	cd-gpios = GP_USDHC2_CD;
	pinctrl-names = "default", "state_100mhz", "state_200mhz";
	pinctrl-0 = <&pinctrl_usdhc2>;
	pinctrl-1 = <&pinctrl_usdhc2_100mhz>;
	pinctrl-2 = <&pinctrl_usdhc2_200mhz>;
	status = "okay";
#if 0
	vqmmc-supply = <&reg_usdhc2_vqmmc>;
#else
	vqmmc-supply = <&reg_ldo2>;
#endif
};

&usdhc3 {
	bus-width = <4>;
	fsl,sdio-async-interrupt-enabled;
	keep-power-in-suspend;
	no-sd-uhs-sdr104;
	non-removable;
	pinctrl-names = "default", "state_100mhz", "state_200mhz";
	pinctrl-0 = <&pinctrl_usdhc3>;
	pinctrl-1 = <&pinctrl_usdhc3_100mhz>;
	pinctrl-2 = <&pinctrl_usdhc3_200mhz>;
	pm-ignore-notify;
	status = "okay";
	vmmc-supply = <&reg_wlan_vmmc>;
	vqmmc-1-8-v;
	vqmmc-supply = <&reg_vref_1v8>;
};

&vpu_g1 {
	status = "okay";
};

&vpu_g2 {
	status = "okay";
};

&vpu_h1 {
	status = "okay";
};

&vpu_v4l2 {
	status = "okay";
};

&wdog1 {
	pinctrl-names = "default";
	pinctrl-0 = <&pinctrl_wdog>;
	fsl,ext-reset-output;
	status = "okay";
};

/* J11 mipi display */
#define MIPI_DISPLAY		lcdif
#define MIPI_SUBSYSTEM		display_subsystem
#ifndef MIPI_I2C_BUS
#define MIPI_I2C_BUS		i2c2
#endif
#define MIPI_PHY_CLOCK		<&mipi_dsi 0>
#define MIPI_PIXEL_CLOCK	<&clk IMX8MMN(CLK_LCDIF_PIXEL)>

#ifndef MIPI_PWM
#define MIPI_PWM		pwm3
#define GP_MIPI_PWM(a)		<&gpio5 3 a>
#define PD_MIPI_PWM(a)		MX8MMN(IOMUXC_SPDIF_TX_GPIO5_IO3, a)	/* Pin 7 */
#define PD_MIPI_PWM_OUT(a)	MX8MMN(IOMUXC_SPDIF_TX_PWM3_OUT, a)
#endif

#define GP_MIPI_IRQ(a)		<&gpio1 1 a>
#define PD_MIPI_IRQ(a)		MX8MMN(IOMUXC_GPIO1_IO01_GPIO1_IO1, a)	/* Pin 8 */

#define GP_MIPI_TS_IRQ(a)	<&gpio1 6 a>
#define PD_MIPI_TS_IRQ(a)	MX8MMN(IOMUXC_GPIO1_IO06_GPIO1_IO6, a)	/* Pin 9 */

#define GP_MIPI_TS_RESET(a)	<&gpio1 7 a>
#define PD_MIPI_TS_RESET(a)	MX8MMN(IOMUXC_GPIO1_IO07_GPIO1_IO7, a)	/* Pin 10 */

#ifndef MIPI_ENABLE_PAD
#define GP_MIPI_ENABLE(a)	<&gpio1 9 a>
#define PD_MIPI_ENABLE(a)	MX8MMN(IOMUXC_GPIO1_IO09_GPIO1_IO9, a)	/* Pin 11 */
#endif

#define PAD_NOPULL		0x0
#define PAD_PULLDN		0x100
#define PAD_PULLUPIRQ		0x1c0
#define PAD_PULLDNIRQ		0x180
#include "nitrogen-mipi-dsi.dtsi"

&mipi_dsi {
	assigned-clocks = <&clk IMX8MMN(CLK_DSI_CORE)>,
			  <&clk IMX8MMN(CLK_DSI_PHY_REF)>,
			  <&clk IMX8MMN(VIDEO_PLL1_REF_SEL)>,
			  <&clk IMX8MMN(CLK_LCDIF_PIXEL)>;
	assigned-clock-parents = <&clk IMX8MMN(SYS_PLL1_266M)>,
				 <&clk IMX8MMN(VIDEO_PLL1_OUT)>,
				 <&clk IMX8MMN(CLK_24M)>;
	assigned-clock-rates = <266000000>, <0>, <0>, <66000000>;

	clocks = <&clk IMX8MMN(CLK_DSI_CORE)>,
		 <&clk IMX8MMN(CLK_DSI_PHY_REF)>,
		 <&clk IMX8MMN(CLK_LCDIF_PIXEL)>;
	clock-names = "cfg", "pll-ref", "pixel_clock";
	status = "okay";
};

&spi_lcd {
	assigned-clocks = <&clk IMX8MMN(VIDEO_PLL1)>;
	assigned-clock-rates = <384000000>;
};
